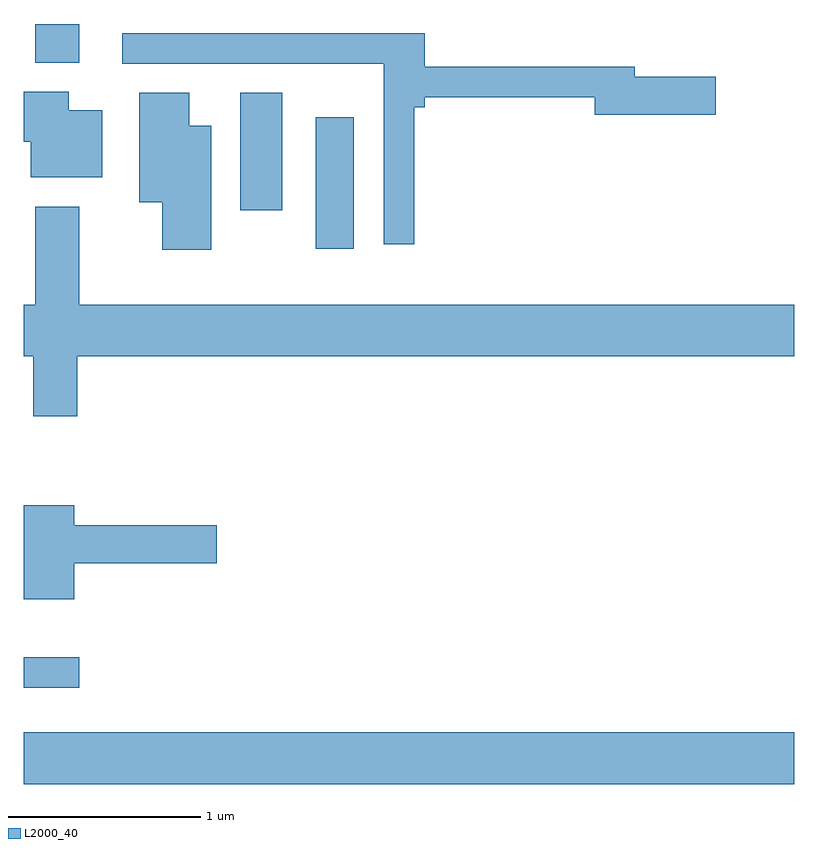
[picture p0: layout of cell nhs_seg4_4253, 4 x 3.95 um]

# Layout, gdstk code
import gdstk
lib = gdstk.Library(unit=1e-6, precision=1e-09)
def R(c, l, rs):  # rectangles x0, y0, x1, y1
    for r in rs: c.add(gdstk.rectangle(r[:2], r[2:], *l))
def P(c, l, *ps):  # polygons
    for p in ps: c.add(gdstk.Polygon(p, *l))
L2000_40 = (2000, 40)

nhs_seg4_4253 = lib.new_cell('nhs_seg4_4253')
R(nhs_seg4_4253, L2000_40, [(309.611,1328.036,313.611,1328.304), (309.611,1328.536,309.898,1328.694), (311.126,1330.816,311.324,1331.499), (310.736,1331.016,310.954,1331.624), (309.671,1331.781,309.899,1331.982)])
P(nhs_seg4_4253, L2000_40, [(311.639,1331.551),(311.694,1331.551),(311.694,1331.601),(312.576,1331.601),(312.576,1331.511),(313.204,1331.511),(313.204,1331.709),(312.784,1331.709),(312.784,1331.759),(311.694,1331.759),(311.694,1331.934),(310.123,1331.934),(310.123,1331.776),(311.481,1331.776),(311.481,1330.838),(311.639,1330.838)],
  [(310.019,1331.534),(309.844,1331.534),(309.844,1331.629),(309.611,1331.629),(309.611,1331.371),(309.646,1331.371),(309.646,1331.186),(310.019,1331.186)],
  [(310.584,1331.454),(310.469,1331.454),(310.469,1331.624),(310.211,1331.624),(310.211,1331.056),(310.331,1331.056),(310.331,1330.811),(310.584,1330.811)],
  [(309.889,1330.256),(313.611,1330.256),(313.611,1330.524),(309.899,1330.524),(309.899,1331.034),(309.671,1331.034),(309.671,1330.524),(309.611,1330.524),(309.611,1330.256),(309.661,1330.256),(309.661,1329.946),(309.889,1329.946)],
  [(309.874,1329.181),(310.614,1329.181),(310.614,1329.379),(309.874,1329.379),(309.874,1329.484),(309.611,1329.484),(309.611,1328.996),(309.874,1328.996)])

lib.write_gds('nhs_seg4_4253.gds')
